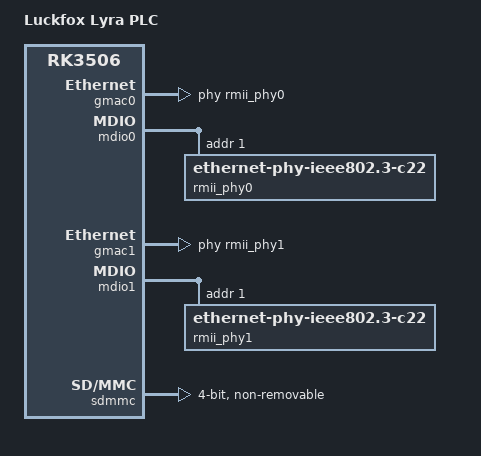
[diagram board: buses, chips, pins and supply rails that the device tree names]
// SPDX-License-Identifier: (GPL-2.0+ OR MIT)

/dts-v1/;
#include "rk3506b-luckfox-lyra.dtsi"

/ {
	model = "Luckfox Lyra PLC";
	compatible = "luckfox,lyra-plc", "rockchip,rk3506";

	aliases {
		ethernet0 = &gmac0;
		ethernet1 = &gmac1;
	};
};

/* Two RMII PHYs; the ports share the 25 MHz reference clock output. */
&gmac0 {
	assigned-clocks = <&cru CLK_MAC0>;
	assigned-clock-rates = <50000000>;
	clock_in_out = "output";
	phy-handle = <&rmii_phy0>;
	pinctrl-names = "default";
	pinctrl-0 = <&eth_rmii0_miim>, <&eth_rmii0_tx_bus2>,
		    <&eth_rmii0_rx_bus2>, <&eth_rmii0_clk>;
	status = "okay";
};

&mdio0 {
	rmii_phy0: ethernet-phy@1 {
		compatible = "ethernet-phy-ieee802.3-c22";
		reg = <1>;
	};
};

&gmac1 {
	assigned-clocks = <&cru CLK_MAC1>;
	assigned-clock-rates = <50000000>;
	clock_in_out = "output";
	phy-handle = <&rmii_phy1>;
	pinctrl-names = "default";
	pinctrl-0 = <&eth_rmii1_miim>, <&eth_rmii1_tx_bus2>,
		    <&eth_rmii1_rx_bus2>, <&eth_rmii1_clk>;
	status = "okay";
};

&mdio1 {
	rmii_phy1: ethernet-phy@1 {
		compatible = "ethernet-phy-ieee802.3-c22";
		reg = <1>;
	};
};

/* 8 GB eMMC */
&sdmmc {
	bus-width = <4>;
	cap-mmc-highspeed;
	mmc-ddr-1_8v;
	no-sd;
	no-sdio;
	non-removable;
	status = "okay";
};
